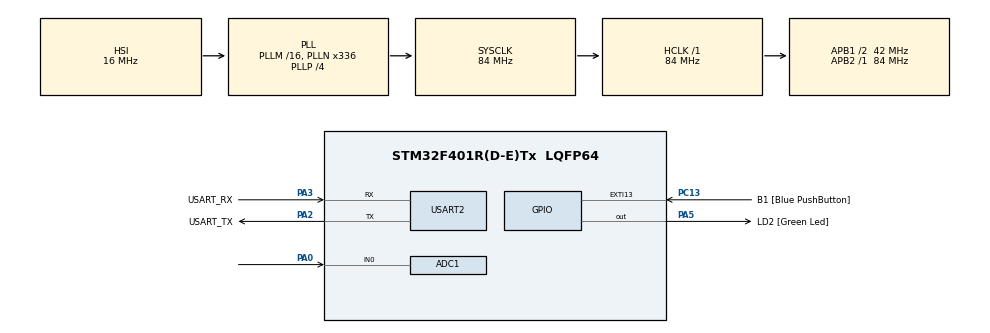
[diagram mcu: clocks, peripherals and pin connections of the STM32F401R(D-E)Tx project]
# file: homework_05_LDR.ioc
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ADC1.Channel-0\#ChannelRegularConversion=ADC_CHANNEL_0
ADC1.ContinuousConvMode=DISABLE
ADC1.DMAContinuousRequests=ENABLE
ADC1.ExternalTrigConv=ADC_EXTERNALTRIGCONV_T3_TRGO
ADC1.NbrOfConversionFlag=1
ADC1.Rank-0\#ChannelRegularConversion=1
ADC1.SamplingTime-0\#ChannelRegularConversion=ADC_SAMPLETIME_480CYCLES
ADC1.master=1
Dma.ADC1.0.Direction=DMA_PERIPH_TO_MEMORY
Dma.ADC1.0.FIFOMode=DMA_FIFOMODE_DISABLE
Dma.ADC1.0.Instance=DMA2_Stream0
Dma.ADC1.0.MemDataAlignment=DMA_MDATAALIGN_HALFWORD
Dma.ADC1.0.MemInc=DMA_MINC_ENABLE
Dma.ADC1.0.Mode=DMA_CIRCULAR
Dma.ADC1.0.PeriphDataAlignment=DMA_PDATAALIGN_HALFWORD
Dma.ADC1.0.PeriphInc=DMA_PINC_DISABLE
Dma.ADC1.0.Priority=DMA_PRIORITY_HIGH
Dma.Request0=ADC1
Mcu.Family=STM32F4
Mcu.Name=STM32F401R(D-E)Tx
Mcu.Package=LQFP64
NVIC.DMA2_Stream0_IRQn=true\:0\:0\:false\:false\:true\:false\:true\:true
NVIC.PriorityGroup=NVIC_PRIORITYGROUP_0
NVIC.TIM1_UP_TIM10_IRQn=true\:0\:1\:false\:false\:true\:true\:true\:true
PA0-WKUP.Signal=SharedAnalog_PA0
PA13.GPIO_Label=TMS
PA13.Mode=Serial_Wire
PA13.Signal=SYS_JTMS-SWDIO
PA14.GPIO_Label=TCK
PA14.Mode=Serial_Wire
PA14.Signal=SYS_JTCK-SWCLK
PA2.GPIO_Label=USART_TX
PA2.GPIO_Mode=GPIO_MODE_AF_PP
PA2.GPIO_PuPd=GPIO_NOPULL
PA2.GPIO_Speed=GPIO_SPEED_FREQ_LOW
PA2.Mode=Asynchronous
PA2.Signal=USART2_TX
PA3.GPIO_Label=USART_RX
PA3.GPIO_Mode=GPIO_MODE_AF_PP
PA3.GPIO_PuPd=GPIO_NOPULL
PA3.GPIO_Speed=GPIO_SPEED_FREQ_LOW
PA3.Mode=Asynchronous
PA3.Signal=USART2_RX
PA5.GPIO_Label=LD2 [Green Led]
PA5.GPIO_Mode=GPIO_MODE_OUTPUT_PP
PA5.GPIO_PuPd=GPIO_NOPULL
PA5.GPIO_Speed=GPIO_SPEED_FREQ_LOW
PA5.Signal=GPIO_Output
PB3.GPIO_Label=SWO
PB3.Signal=SYS_JTDO-SWO
PC13-ANTI_TAMP.GPIO_Label=B1 [Blue PushButton]
PC13-ANTI_TAMP.GPIO_ModeDefaultEXTI=GPIO_MODE_IT_FALLING
PC13-ANTI_TAMP.GPIO_PuPd=GPIO_NOPULL
PC13-ANTI_TAMP.Signal=GPXTI13
PC14-OSC32_IN.Mode=LSE-External-Oscillator
PC14-OSC32_IN.Signal=RCC_OSC32_IN
PC15-OSC32_OUT.Mode=LSE-External-Oscillator
PC15-OSC32_OUT.Signal=RCC_OSC32_OUT
PH0\ -\ OSC_IN.Mode=HSE-External-Clock-Source
PH0\ -\ OSC_IN.Signal=RCC_OSC_IN
PH1\ -\ OSC_OUT.Mode=HSE-External-Clock-Source
PH1\ -\ OSC_OUT.Signal=RCC_OSC_OUT
ProjectManager.HeapSize=0x200
ProjectManager.StackSize=0x400
ProjectManager.TargetToolchain=STM32CubeIDE
RCC.48MHZClocksFreq_Value=48000000
RCC.AHBFreq_Value=84000000
RCC.APB1CLKDivider=RCC_HCLK_DIV2
RCC.APB1Freq_Value=42000000
RCC.APB1TimFreq_Value=84000000
RCC.APB2Freq_Value=84000000
RCC.APB2TimFreq_Value=84000000
RCC.CortexFreq_Value=84000000
RCC.HCLKFreq_Value=84000000
RCC.HSE_VALUE=8000000
RCC.HSI_VALUE=16000000
RCC.PLLN=336
RCC.PLLP=RCC_PLLP_DIV4
RCC.PLLQ=7
RCC.SYSCLKFreq_VALUE=84000000
RCC.SYSCLKSource=RCC_SYSCLKSOURCE_PLLCLK
RCC.VCOOutputFreq_Value=336000000
SH.SharedAnalog_PA0.0=GPIO_Analog
SH.SharedAnalog_PA0.1=ADC1_IN0,IN0
TIM1.Period=10000-1
TIM1.Prescaler=8400-1
TIM3.Period=10-1
TIM3.Prescaler=8400-1
TIM3.TIM_MasterOutputTrigger=TIM_TRGO_UPDATE
USART2.VirtualMode=VM_ASYNC
VP_TIM1_VS_ClockSourceINT.Mode=Internal
VP_TIM3_VS_ClockSourceINT.Mode=Internal
board=NUCLEO-F401RE

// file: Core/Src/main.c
/* USER CODE BEGIN Header */
/**
  ******************************************************************************
  * @file           : main.c
  * @brief          : Main program body
  ******************************************************************************
  * @attention
  *
  * Copyright (c) 2023 STMicroelectronics.
  * All rights reserved.
  *
  * This software is licensed under terms that can be found in the LICENSE file
  * in the root directory of this software component.
  * If no LICENSE file comes with this software, it is provided AS-IS.
  *
  ******************************************************************************
  */
/* USER CODE END Header */
#include "main.h"

/* USER CODE BEGIN Includes */
#include "math.h"
/* USER CODE END Includes */

ADC_HandleTypeDef hadc1;
DMA_HandleTypeDef hdma_adc1;

TIM_HandleTypeDef htim1;
TIM_HandleTypeDef htim3;

UART_HandleTypeDef huart2;

/* USER CODE BEGIN PV */
volatile uint16_t adcResult;
const int adcNumberChannels = 1;

volatile float mean = 0;
volatile int counter = 0;
/* USER CODE END PV */

void SystemClock_Config(void);
static void MX_GPIO_Init(void);
static void MX_DMA_Init(void);
static void MX_USART2_UART_Init(void);
static void MX_ADC1_Init(void);
static void MX_TIM1_Init(void);
static void MX_TIM3_Init(void);
/* USER CODE BEGIN PFP */
void HAL_ADC_ConvCpltCallback(ADC_HandleTypeDef* hadc);
void HAL_TIM_PeriodElapsedCallback(TIM_HandleTypeDef *htim);
float convert_to_voltage(float);
/* USER CODE END PFP */

int main(void)
{

  /* MCU Configuration--------------------------------------------------------*/

  /* Reset of all peripherals, Initializes the Flash interface and the Systick. */
  HAL_Init();

  /* Configure the system clock */
  SystemClock_Config();

  /* Initialize all configured peripherals */
  MX_GPIO_Init();
  MX_DMA_Init();
  MX_USART2_UART_Init();
  MX_ADC1_Init();
  MX_TIM1_Init();
  MX_TIM3_Init();
  /* USER CODE BEGIN 2 */

  HAL_ADC_Start_DMA(&hadc1, &adcResult, adcNumberChannels);
  HAL_TIM_Base_Start(&htim3);
  HAL_TIM_Base_Start_IT(&htim1);
  /* USER CODE END 2 */

  /* Infinite loop */
  while (1)
  {

  }
}

void SystemClock_Config(void)
{
  RCC_OscInitTypeDef RCC_OscInitStruct = {0};
  RCC_ClkInitTypeDef RCC_ClkInitStruct = {0};

  /** Configure the main internal regulator output voltage
  */
  __HAL_RCC_PWR_CLK_ENABLE();
  __HAL_PWR_VOLTAGESCALING_CONFIG(PWR_REGULATOR_VOLTAGE_SCALE2);

  /** Initializes the RCC Oscillators according to the specified parameters
  * in the RCC_OscInitTypeDef structure.
  */
  RCC_OscInitStruct.OscillatorType = RCC_OSCILLATORTYPE_HSI;
  RCC_OscInitStruct.HSIState = RCC_HSI_ON;
  RCC_OscInitStruct.HSICalibrationValue = RCC_HSICALIBRATION_DEFAULT;
  RCC_OscInitStruct.PLL.PLLState = RCC_PLL_ON;
  RCC_OscInitStruct.PLL.PLLSource = RCC_PLLSOURCE_HSI;
  RCC_OscInitStruct.PLL.PLLM = 16;
  RCC_OscInitStruct.PLL.PLLN = 336;
  RCC_OscInitStruct.PLL.PLLP = RCC_PLLP_DIV4;
  RCC_OscInitStruct.PLL.PLLQ = 7;
  if (HAL_RCC_OscConfig(&RCC_OscInitStruct) != HAL_OK)
  {
    Error_Handler();
  }

  /** Initializes the CPU, AHB and APB buses clocks
  */
  RCC_ClkInitStruct.ClockType = RCC_CLOCKTYPE_HCLK|RCC_CLOCKTYPE_SYSCLK
                              |RCC_CLOCKTYPE_PCLK1|RCC_CLOCKTYPE_PCLK2;
  RCC_ClkInitStruct.SYSCLKSource = RCC_SYSCLKSOURCE_PLLCLK;
  RCC_ClkInitStruct.AHBCLKDivider = RCC_SYSCLK_DIV1;
  RCC_ClkInitStruct.APB1CLKDivider = RCC_HCLK_DIV2;
  RCC_ClkInitStruct.APB2CLKDivider = RCC_HCLK_DIV1;

  if (HAL_RCC_ClockConfig(&RCC_ClkInitStruct, FLASH_LATENCY_2) != HAL_OK)
  {
    Error_Handler();
  }
}

static void MX_ADC1_Init(void)
{

  ADC_ChannelConfTypeDef sConfig = {0};

  /** Configure the global features of the ADC (Clock, Resolution, Data Alignment and number of conversion)
  */
  hadc1.Instance = ADC1;
  hadc1.Init.ClockPrescaler = ADC_CLOCK_SYNC_PCLK_DIV4;
  hadc1.Init.Resolution = ADC_RESOLUTION_12B;
  hadc1.Init.ScanConvMode = DISABLE;
  hadc1.Init.ContinuousConvMode = DISABLE;
  hadc1.Init.DiscontinuousConvMode = DISABLE;
  hadc1.Init.ExternalTrigConvEdge = ADC_EXTERNALTRIGCONVEDGE_RISING;
  hadc1.Init.ExternalTrigConv = ADC_EXTERNALTRIGCONV_T3_TRGO;
  hadc1.Init.DataAlign = ADC_DATAALIGN_RIGHT;
  hadc1.Init.NbrOfConversion = 1;
  hadc1.Init.DMAContinuousRequests = ENABLE;
  hadc1.Init.EOCSelection = ADC_EOC_SINGLE_CONV;
  if (HAL_ADC_Init(&hadc1) != HAL_OK)
  {
    Error_Handler();
  }

  /** Configure for the selected ADC regular channel its corresponding rank in the sequencer and its sample time.
  */
  sConfig.Channel = ADC_CHANNEL_0;
  sConfig.Rank = 1;
  sConfig.SamplingTime = ADC_SAMPLETIME_480CYCLES;
  if (HAL_ADC_ConfigChannel(&hadc1, &sConfig) != HAL_OK)
  {
    Error_Handler();
  }

}

static void MX_TIM1_Init(void)
{

  TIM_ClockConfigTypeDef sClockSourceConfig = {0};
  TIM_MasterConfigTypeDef sMasterConfig = {0};

  htim1.Instance = TIM1;
  htim1.Init.Prescaler = 8400-1;
  htim1.Init.CounterMode = TIM_COUNTERMODE_UP;
  htim1.Init.Period = 10000-1;
  htim1.Init.ClockDivision = TIM_CLOCKDIVISION_DIV1;
  htim1.Init.RepetitionCounter = 0;
  htim1.Init.AutoReloadPreload = TIM_AUTORELOAD_PRELOAD_DISABLE;
  if (HAL_TIM_Base_Init(&htim1) != HAL_OK)
  {
    Error_Handler();
  }
  sClockSourceConfig.ClockSource = TIM_CLOCKSOURCE_INTERNAL;
  if (HAL_TIM_ConfigClockSource(&htim1, &sClockSourceConfig) != HAL_OK)
  {
    Error_Handler();
  }
  sMasterConfig.MasterOutputTrigger = TIM_TRGO_RESET;
  sMasterConfig.MasterSlaveMode = TIM_MASTERSLAVEMODE_DISABLE;
  if (HAL_TIMEx_MasterConfigSynchronization(&htim1, &sMasterConfig) != HAL_OK)
  {
    Error_Handler();
  }

}

static void MX_TIM3_Init(void)
{

  TIM_ClockConfigTypeDef sClockSourceConfig = {0};
  TIM_MasterConfigTypeDef sMasterConfig = {0};

  htim3.Instance = TIM3;
  htim3.Init.Prescaler = 8400-1;
  htim3.Init.CounterMode = TIM_COUNTERMODE_UP;
  htim3.Init.Period = 10-1;
  htim3.Init.ClockDivision = TIM_CLOCKDIVISION_DIV1;
  htim3.Init.AutoReloadPreload = TIM_AUTORELOAD_PRELOAD_DISABLE;
  if (HAL_TIM_Base_Init(&htim3) != HAL_OK)
  {
    Error_Handler();
  }
  sClockSourceConfig.ClockSource = TIM_CLOCKSOURCE_INTERNAL;
  if (HAL_TIM_ConfigClockSource(&htim3, &sClockSourceConfig) != HAL_OK)
  {
    Error_Handler();
  }
  sMasterConfig.MasterOutputTrigger = TIM_TRGO_UPDATE;
  sMasterConfig.MasterSlaveMode = TIM_MASTERSLAVEMODE_DISABLE;
  if (HAL_TIMEx_MasterConfigSynchronization(&htim3, &sMasterConfig) != HAL_OK)
  {
    Error_Handler();
  }

}

static void MX_USART2_UART_Init(void)
{

  huart2.Instance = USART2;
  huart2.Init.BaudRate = 115200;
  huart2.Init.WordLength = UART_WORDLENGTH_8B;
  huart2.Init.StopBits = UART_STOPBITS_1;
  huart2.Init.Parity = UART_PARITY_NONE;
  huart2.Init.Mode = UART_MODE_TX_RX;
  huart2.Init.HwFlowCtl = UART_HWCONTROL_NONE;
  huart2.Init.OverSampling = UART_OVERSAMPLING_16;
  if (HAL_UART_Init(&huart2) != HAL_OK)
  {
    Error_Handler();
  }

}

static void MX_DMA_Init(void)
{

  /* DMA controller clock enable */
  __HAL_RCC_DMA2_CLK_ENABLE();

  /* DMA interrupt init */
  /* DMA2_Stream0_IRQn interrupt configuration */
  HAL_NVIC_SetPriority(DMA2_Stream0_IRQn, 0, 0);
  HAL_NVIC_EnableIRQ(DMA2_Stream0_IRQn);

}

static void MX_GPIO_Init(void)
{
  GPIO_InitTypeDef GPIO_InitStruct = {0};

  /* GPIO Ports Clock Enable */
  __HAL_RCC_GPIOC_CLK_ENABLE();
  __HAL_RCC_GPIOH_CLK_ENABLE();
  __HAL_RCC_GPIOA_CLK_ENABLE();
  __HAL_RCC_GPIOB_CLK_ENABLE();

  /*Configure GPIO pin Output Level */
  HAL_GPIO_WritePin(LD2_GPIO_Port, LD2_Pin, GPIO_PIN_RESET);

  /*Configure GPIO pin : B1_Pin */
  GPIO_InitStruct.Pin = B1_Pin;
  GPIO_InitStruct.Mode = GPIO_MODE_IT_FALLING;
  GPIO_InitStruct.Pull = GPIO_NOPULL;
  HAL_GPIO_Init(B1_GPIO_Port, &GPIO_InitStruct);

  /*Configure GPIO pin : LD2_Pin */
  GPIO_InitStruct.Pin = LD2_Pin;
  GPIO_InitStruct.Mode = GPIO_MODE_OUTPUT_PP;
  GPIO_InitStruct.Pull = GPIO_NOPULL;
  GPIO_InitStruct.Speed = GPIO_SPEED_FREQ_LOW;
  HAL_GPIO_Init(LD2_GPIO_Port, &GPIO_InitStruct);

}

/* USER CODE BEGIN 4 */
void HAL_ADC_ConvCpltCallback(ADC_HandleTypeDef* hadc){
	if(hadc != &hadc1) return;

	counter++;
	mean = ((mean * (counter - 1)) + adcResult) / counter;
}

void HAL_TIM_PeriodElapsedCallback(TIM_HandleTypeDef *htim) {
	if(htim != &htim1) return;

	// print and reset values
	float vadc = convert_to_voltage(mean);
	float ldr = (vadc * 100) / (3.3 - vadc);
	float lux = 10 * pow(100 / ldr, 1.25);
	//float lux =
	char message[100];
	int length = snprintf(message, 100, "%f V | %f KOhm | %f Lux\r\n", vadc, ldr, lux);
	HAL_UART_Transmit(&huart2, message, length, 10);

	counter = 0;
	mean = 0;
}

float convert_to_voltage(float value) {
	return value * 3.3 / 4096.0;
}
/* USER CODE END 4 */

void Error_Handler(void)
{
  __disable_irq();
  while (1)
  {
  }
}
